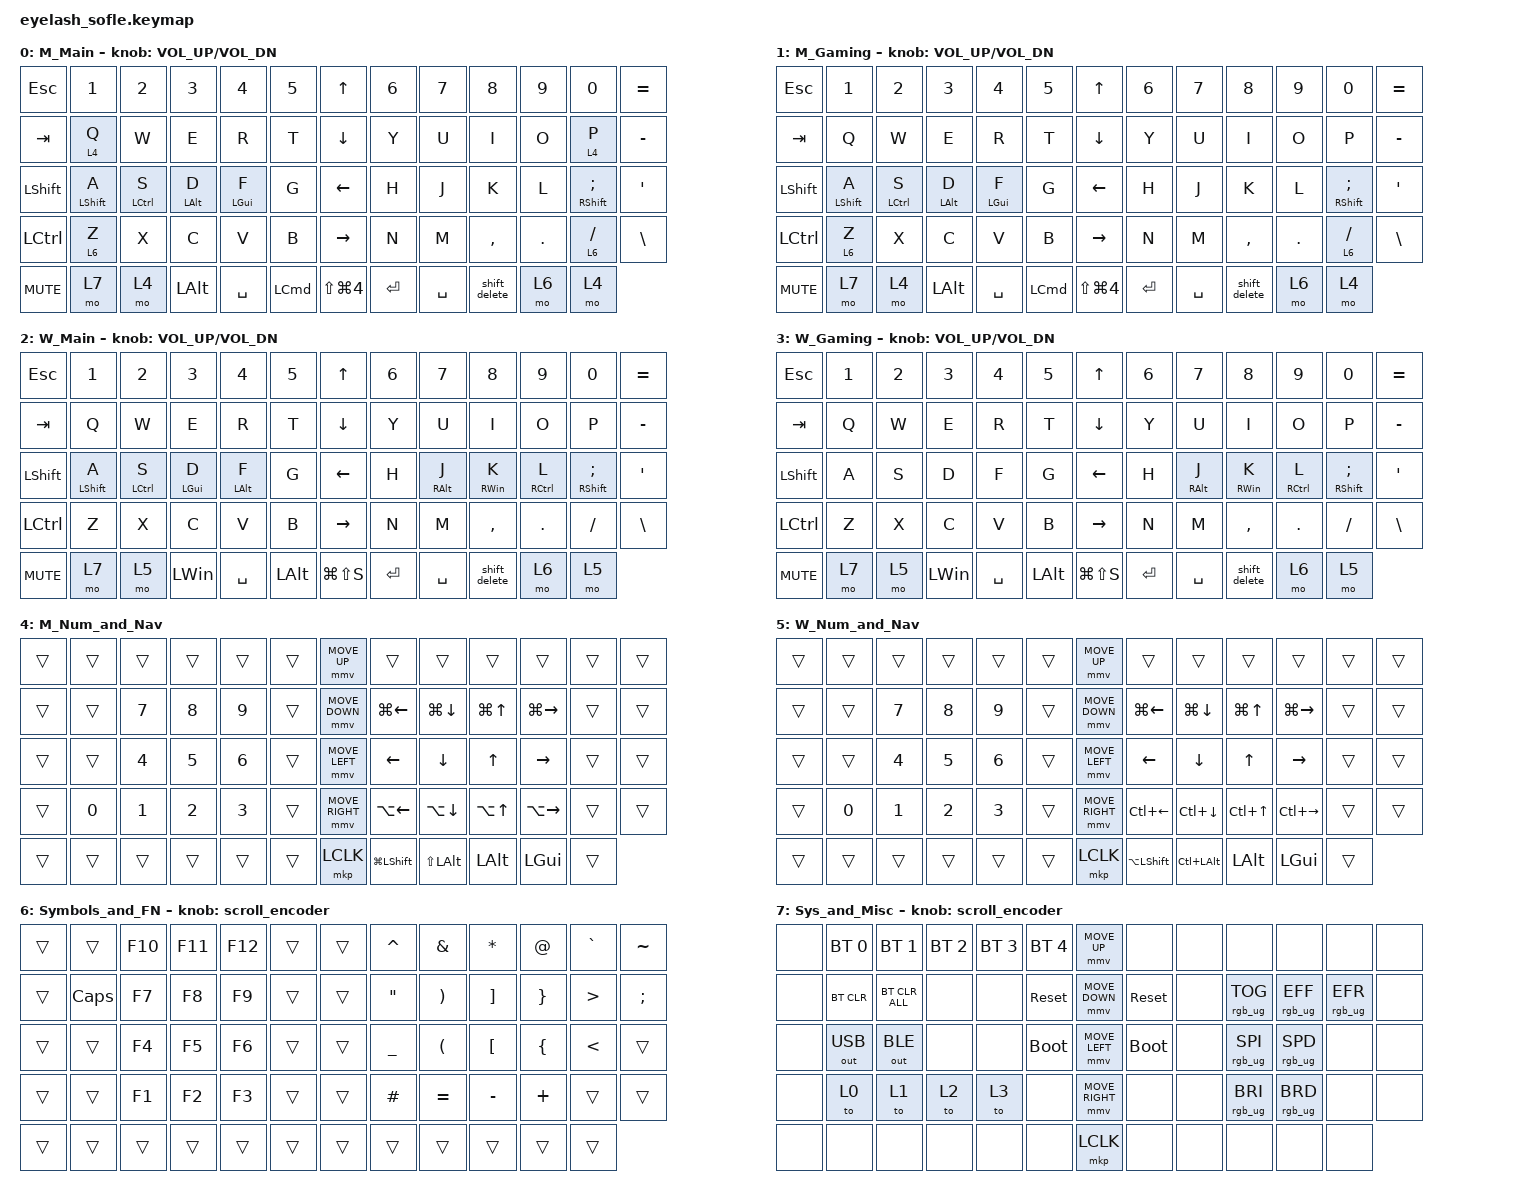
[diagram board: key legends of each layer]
#define ZMK_POINTING_DEFAULT_MOVE_VAL 1200  // 600
#define ZMK_POINTING_DEFAULT_SCRL_VAL 25   // 10

#include <input/processors.dtsi>
#include <zephyr/dt-bindings/input/input-event-codes.h>
#include <behaviors.dtsi>
#include <dt-bindings/zmk/bt.h>
#include <dt-bindings/zmk/keys.h>
#include <dt-bindings/zmk/outputs.h>
#include <dt-bindings/zmk/pointing.h>
#include <dt-bindings/zmk/rgb.h>

&mmv_input_listener { input-processors = <&zip_xy_scaler 2 1>; };

&msc_input_listener { input-processors = <&zip_scroll_scaler 2 1>; };

&msc {
    acceleration-exponent = <1>;      // 0
    time-to-max-speed-ms = <100>;       // 300
    delay-ms = <0>;                   // 0
};

&mmv {
    time-to-max-speed-ms = <500>;
    acceleration-exponent = <1>;
    trigger-period-ms = <16>;
};

&soft_off { hold-time-ms = <2000>; };

&mt {
    flavor = "tap-preferred";
    tapping-term-ms = <200>;
};

/ {
    scroll_encoder: scroll_encoder {
        compatible = "zmk,behavior-sensor-rotate";
        #sensor-binding-cells = <0>;
        bindings = <&msc SCRL_DOWN>, <&msc SCRL_UP>;

        tap-ms = <100>;
    };

    shift_delete: shift_delete {
        compatible = "zmk,behavior-mod-morph";
        label = "SHIFT_DELETE";
        bindings = <&kp BACKSPACE>, <&kp DELETE>;

        #binding-cells = <0>;
        mods = <(MOD_LSFT|MOD_RSFT)>;
    };

    behaviors {
    };

    combos {
        compatible = "zmk,combos";

        softoff {
            bindings = <&soft_off>;
            key-positions = <14 28 40>;
        };
    };

    keymap {
        compatible = "zmk,keymap";

        M_Main {
            display-name = "M_Main";
            bindings = <
&kp ESC           &kp N1            &kp N2              &kp N3          &kp N4          &kp N5              &kp UP_ARROW          &kp N6     &kp N7     &kp N8         &kp N9   &kp N0                     &kp EQUAL
&kp TAB           &lt 4 Q           &kp W               &kp E           &kp R           &kp T               &kp DOWN_ARROW        &kp Y      &kp U      &kp I          &kp O    &lt 4 P                    &kp MINUS
&kp LEFT_SHIFT    &mt LEFT_SHIFT A  &mt LEFT_CONTROL S  &mt LEFT_ALT D  &mt LEFT_GUI F  &kp G               &kp LEFT_ARROW        &kp H      &kp J      &kp K          &kp L    &mt RIGHT_SHIFT SEMICOLON  &kp APOS
&kp LEFT_CONTROL  &lt 6 Z           &kp X               &kp C           &kp V           &kp B               &kp RIGHT_ARROW       &kp N      &kp M      &kp COMMA      &kp DOT  &lt 6 SLASH                &kp BACKSLASH
&kp C_MUTE        &mo 7             &mo 4               &kp LEFT_ALT    &kp SPACE       &kp LEFT_COMMAND    &kp LS(LG(NUMBER_4))  &kp ENTER  &kp SPACE  &shift_delete  &mo 6    &mo 4
            >;

            sensor-bindings = <&inc_dec_kp C_VOLUME_UP C_VOL_DN>;
        };

        M_Gaming {
            bindings = <
&kp ESC           &kp N1            &kp N2              &kp N3          &kp N4          &kp N5              &kp UP_ARROW          &kp N6     &kp N7     &kp N8         &kp N9   &kp N0                     &kp EQUAL
&kp TAB           &kp Q             &kp W               &kp E           &kp R           &kp T               &kp DOWN_ARROW        &kp Y      &kp U      &kp I          &kp O    &kp P                      &kp MINUS
&kp LEFT_SHIFT    &mt LEFT_SHIFT A  &mt LEFT_CONTROL S  &mt LEFT_ALT D  &mt LEFT_GUI F  &kp G               &kp LEFT_ARROW        &kp H      &kp J      &kp K          &kp L    &mt RIGHT_SHIFT SEMICOLON  &kp APOS
&kp LEFT_CONTROL  &lt 6 Z           &kp X               &kp C           &kp V           &kp B               &kp RIGHT_ARROW       &kp N      &kp M      &kp COMMA      &kp DOT  &lt 6 FSLH                 &kp BACKSLASH
&kp C_MUTE        &mo 7             &mo 4               &kp LEFT_ALT    &kp SPACE       &kp LEFT_COMMAND    &kp LS(LG(NUMBER_4))  &kp ENTER  &kp SPACE  &shift_delete  &mo 6    &mo 4
            >;

            sensor-bindings = <&inc_dec_kp C_VOLUME_UP C_VOL_DN>;
            display-name = "M_Gaming";
        };

        W_Main {
            display-name = "W_Main";
            bindings = <
&kp ESC           &kp N1            &kp N2              &kp N3          &kp N4          &kp N5          &kp UP_ARROW     &kp N6     &kp N7           &kp N8           &kp N9               &kp N0                &kp EQUAL
&kp TAB           &kp Q             &kp W               &kp E           &kp R           &kp T           &kp DOWN_ARROW   &kp Y      &kp U            &kp I            &kp O                &kp P                 &kp MINUS
&kp LEFT_SHIFT    &mt LEFT_SHIFT A  &mt LEFT_CONTROL S  &mt LEFT_GUI D  &mt LEFT_ALT F  &kp G           &kp LEFT_ARROW   &kp H      &mt RIGHT_ALT J  &mt RIGHT_WIN K  &mt RIGHT_CONTROL L  &mt RIGHT_SHIFT SEMI  &kp APOS
&kp LEFT_CONTROL  &kp Z             &kp X               &kp C           &kp V           &kp B           &kp RIGHT_ARROW  &kp N      &kp M            &kp COMMA        &kp DOT              &kp FSLH              &kp BACKSLASH
&kp C_MUTE        &mo 7             &mo 5               &kp LEFT_WIN    &kp SPACE       &kp LEFT_ALT    &kp LG(LS(S))    &kp ENTER  &kp SPACE        &shift_delete    &mo 6                &mo 5
            >;

            sensor-bindings = <&inc_dec_kp C_VOLUME_UP C_VOL_DN>;
        };

        W_Gaming {
            display-name = "W_Gaming";
            bindings = <
&kp ESC           &kp N1  &kp N2  &kp N3        &kp N4     &kp N5          &kp UP_ARROW     &kp N6     &kp N7           &kp N8           &kp N9               &kp N0                &kp EQUAL
&kp TAB           &kp Q   &kp W   &kp E         &kp R      &kp T           &kp DOWN_ARROW   &kp Y      &kp U            &kp I            &kp O                &kp P                 &kp MINUS
&kp LEFT_SHIFT    &kp A   &kp S   &kp D         &kp F      &kp G           &kp LEFT_ARROW   &kp H      &mt RIGHT_ALT J  &mt RIGHT_WIN K  &mt RIGHT_CONTROL L  &mt RIGHT_SHIFT SEMI  &kp APOS
&kp LEFT_CONTROL  &kp Z   &kp X   &kp C         &kp V      &kp B           &kp RIGHT_ARROW  &kp N      &kp M            &kp COMMA        &kp DOT              &kp FSLH              &kp BACKSLASH
&kp C_MUTE        &mo 7   &mo 5   &kp LEFT_WIN  &kp SPACE  &kp LEFT_ALT    &kp LG(LS(S))    &kp ENTER  &kp SPACE        &shift_delete    &mo 6                &mo 5
            >;

            sensor-bindings = <&inc_dec_kp C_VOLUME_UP C_VOL_DN>;
        };

        M_Num_and_Nav {
            bindings = <
&trans  &trans  &trans  &trans  &trans  &trans    &mmv MOVE_UP     &trans         &trans        &trans      &trans         &trans  &trans
&trans  &trans  &kp N7  &kp N8  &kp N9  &trans    &mmv MOVE_DOWN   &kp LG(LEFT)   &kp LG(DOWN)  &kp LG(UP)  &kp LG(RIGHT)  &trans  &trans
&trans  &trans  &kp N4  &kp N5  &kp N6  &trans    &mmv MOVE_LEFT   &kp LEFT       &kp DOWN      &kp UP      &kp RIGHT      &trans  &trans
&trans  &kp N0  &kp N1  &kp N2  &kp N3  &trans    &mmv MOVE_RIGHT  &kp LA(LEFT)   &kp LA(DOWN)  &kp LA(UP)  &kp LA(RIGHT)  &trans  &trans
&trans  &trans  &trans  &trans  &trans  &trans    &mkp LCLK        &kp LG(LSHFT)  &kp LS(LALT)  &kp LALT    &kp LGUI       &trans
            >;

            label = "M_Num_and_Nav";
        };

        W_Num_and_Nav {
            label = "W_Num_and_Nav";
            bindings = <
&trans  &trans  &trans  &trans  &trans  &trans    &mmv MOVE_UP     &trans              &trans        &trans        &trans         &trans  &trans
&trans  &trans  &kp N7  &kp N8  &kp N9  &trans    &mmv MOVE_DOWN   &kp LG(LEFT)        &kp LG(DOWN)  &kp LG(UP)    &kp LG(RIGHT)  &trans  &trans
&trans  &trans  &kp N4  &kp N5  &kp N6  &trans    &mmv MOVE_LEFT   &kp LEFT            &kp DOWN      &kp UP_ARROW  &kp RIGHT      &trans  &trans
&trans  &kp N0  &kp N1  &kp N2  &kp N3  &trans    &mmv MOVE_RIGHT  &kp LC(LEFT_ARROW)  &kp LC(DOWN)  &kp LC(UP)    &kp LC(RIGHT)  &trans  &trans
&trans  &trans  &trans  &trans  &trans  &trans    &mkp LCLK        &kp LA(LSHFT)       &kp LC(LALT)  &kp LALT      &kp LGUI       &trans
            >;
        };

        Symbols_and_FN {
            bindings = <
&trans  &trans        &kp F10  &kp F11  &kp F12  &trans    &trans  &kp CARET          &kp AMPERSAND          &kp ASTERISK       &kp AT           &kp GRAVE         &kp TILDE
&trans  &kp CAPSLOCK  &kp F7   &kp F8   &kp F9   &trans    &trans  &kp DOUBLE_QUOTES  &kp RIGHT_PARENTHESIS  &kp RIGHT_BRACKET  &kp RIGHT_BRACE  &kp GREATER_THAN  &kp SEMICOLON
&trans  &trans        &kp F4   &kp F5   &kp F6   &trans    &trans  &kp UNDERSCORE     &kp LEFT_PARENTHESIS   &kp LEFT_BRACKET   &kp LEFT_BRACE   &kp LESS_THAN     &trans
&trans  &trans        &kp F1   &kp F2   &kp F3   &trans    &trans  &kp HASH           &kp EQUAL              &kp MINUS          &kp PLUS         &trans            &trans
&trans  &trans        &trans   &trans   &trans   &trans    &trans  &trans             &trans                 &trans             &trans           &trans
            >;

            display-name = "Symbols_and_FN";
            sensor-bindings = <&scroll_encoder>;
        };

        Sys_and_Misc {
            bindings = <
&none  &bt BT_SEL 0  &bt BT_SEL 1    &bt BT_SEL 2  &bt BT_SEL 3  &bt BT_SEL 4    &mmv MOVE_UP     &none        &none  &none            &none            &none            &none
&none  &bt BT_CLR    &bt BT_CLR_ALL  &none         &none         &sys_reset      &mmv MOVE_DOWN   &sys_reset   &none  &rgb_ug RGB_TOG  &rgb_ug RGB_EFF  &rgb_ug RGB_EFR  &none
&none  &out OUT_USB  &out OUT_BLE    &none         &none         &bootloader     &mmv MOVE_LEFT   &bootloader  &none  &rgb_ug RGB_SPI  &rgb_ug RGB_SPD  &none            &none
&none  &to 0         &to 1           &to 2         &to 3         &none           &mmv MOVE_RIGHT  &none        &none  &rgb_ug RGB_BRI  &rgb_ug RGB_BRD  &none            &none
&none  &none         &none           &none         &none         &none           &mkp LCLK        &none        &none  &none            &none            &none
            >;

            display-name = "Sys_and_Misc";
            sensor-bindings = <&scroll_encoder>;
        };
    };
};
